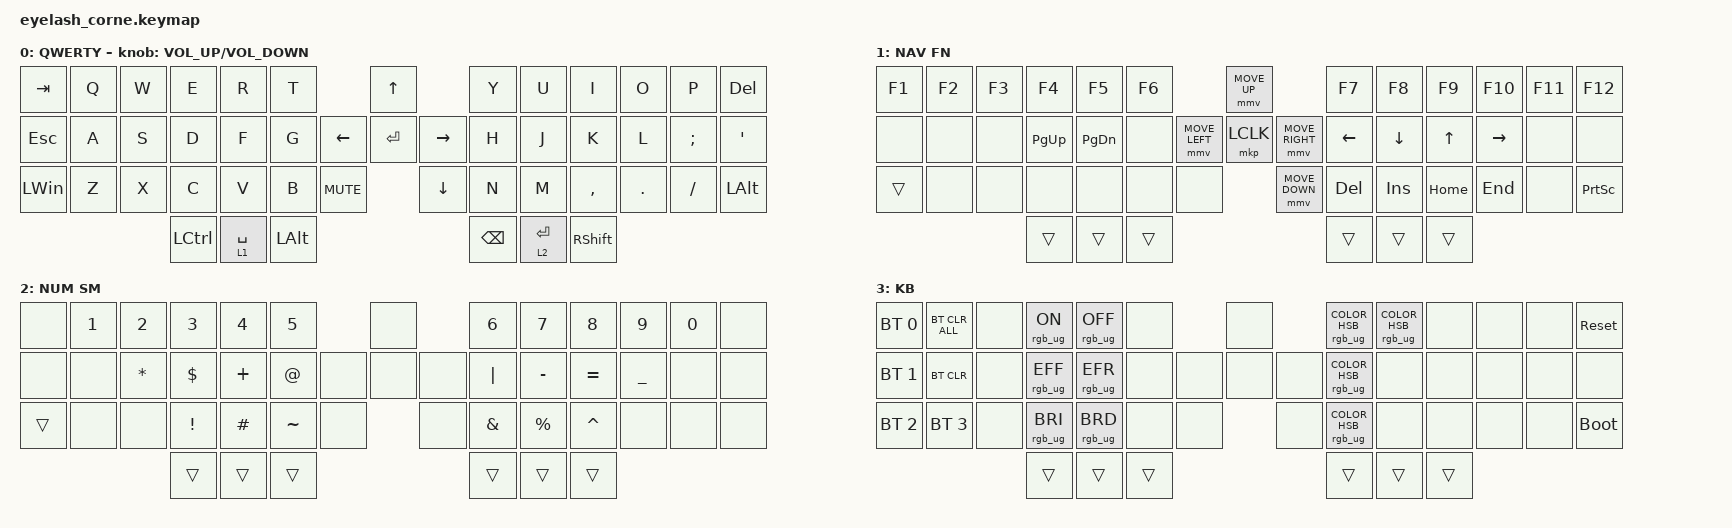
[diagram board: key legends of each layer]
#define ZMK_POINTING_DEFAULT_MOVE_VAL 1200  // 600
#define ZMK_POINTING_DEFAULT_SCRL_VAL 25   // 10

#include <input/processors.dtsi>
#include <zephyr/dt-bindings/input/input-event-codes.h>
#include <behaviors.dtsi>
#include <dt-bindings/zmk/bt.h>
#include <dt-bindings/zmk/keys.h>
#include <dt-bindings/zmk/pointing.h>
#include <dt-bindings/zmk/rgb.h>

&mmv_input_listener { input-processors = <&zip_xy_scaler 2 1>; };

&msc_input_listener { input-processors = <&zip_scroll_scaler 2 1>; };

&msc {
    acceleration-exponent = <1>;      // 0
    time-to-max-speed-ms = <100>;       // 300
    delay-ms = <0>;                   // 0
};

&mmv {
    time-to-max-speed-ms = <500>;
    acceleration-exponent = <1>;
    trigger-period-ms = <16>;
};

/ {
    combos {
        compatible = "zmk,combos";

        parentheses_left {
            bindings = <&kp LEFT_PARENTHESIS>;
            key-positions = <16 17>;
            layers = <0>;
        };

        parentheses_right {
            bindings = <&kp RIGHT_PARENTHESIS>;
            key-positions = <23 24>;
            layers = <0>;
        };

        bracket_left {
            bindings = <&kp LEFT_BRACKET>;
            key-positions = <3 4>;
            layers = <0>;
        };

        bracket_right {
            bindings = <&kp RIGHT_BRACKET>;
            key-positions = <8 9>;
            layers = <0>;
        };

        brace_left {
            bindings = <&kp LEFT_BRACE>;
            key-positions = <32 31>;
            layers = <0>;
        };

        brace_right {
            bindings = <&kp RIGHT_BRACE>;
            key-positions = <37 38>;
            layers = <0>;
        };

        less_than {
            bindings = <&kp LESS_THAN>;
            key-positions = <2 3>;
            layers = <0>;
        };

        bigger_than {
            bindings = <&kp GREATER_THAN>;
            key-positions = <9 10>;
            layers = <0>;
        };
    };

    behaviors {
        td0: td0 {
            compatible = "zmk,behavior-tap-dance";
            display-name = "Shift/Caps Lock Tap Dance";
            #binding-cells = <0>;
            bindings = <&kp LEFT_SHIFT>, <&kp CAPS>;
        };
    };

    rgb_encoder: rgb_encoder {
        compatible = "zmk,behavior-sensor-rotate";
        #sensor-binding-cells = <0>;
        bindings = <&rgb_ug RGB_BRI>, <&rgb_ug RGB_BRD>;
    };

    scroll_encoder: scroll_encoder {
        compatible = "zmk,behavior-sensor-rotate";
        #sensor-binding-cells = <0>;
        bindings = <&msc SCRL_DOWN>, <&msc SCRL_UP>;

        tap-ms = <100>;
    };

    keymap {
        compatible = "zmk,keymap";

        default_layer {
            display-name = "QWERTY";
            bindings = <
&kp TAB       &kp Q  &kp W  &kp E      &kp R        &kp T                                 &kp UP                &kp Y          &kp U        &kp I            &kp O    &kp P     &kp DELETE
&kp ESCAPE    &kp A  &kp S  &kp D      &kp F        &kp G                       &kp LEFT  &kp ENTER  &kp RIGHT  &kp H          &kp J        &kp K            &kp L    &kp SEMI  &kp SQT
&kp LEFT_WIN  &kp Z  &kp X  &kp C      &kp V        &kp B         &kp C_MUTE              &kp DOWN              &kp N          &kp M        &kp COMMA        &kp DOT  &kp FSLH  &kp LEFT_ALT
                            &kp LCTRL  &lt 1 SPACE  &kp LEFT_ALT                                                &kp BACKSPACE  &lt 2 ENTER  &kp RIGHT_SHIFT
            >;

            sensor-bindings = <&inc_dec_kp C_VOLUME_UP C_VOLUME_DOWN>;
        };

        raise_layer {
            bindings = <
&kp F1  &kp F2  &kp F3  &kp F4       &kp F5         &kp F6                           &mmv MOVE_UP                     &kp F7    &kp F8          &kp F9        &kp F10    &kp F11  &kp F12
&none   &none   &none   &kp PAGE_UP  &kp PAGE_DOWN  &none            &mmv MOVE_LEFT  &mkp LCLK       &mmv MOVE_RIGHT  &kp LEFT  &kp DOWN_ARROW  &kp UP_ARROW  &kp RIGHT  &none    &none
&trans  &none   &none   &none        &none          &none   &none                    &mmv MOVE_DOWN                   &kp DEL   &kp INS         &kp HOME      &kp END    &none    &kp PRINTSCREEN
                        &trans       &trans         &trans                                                            &trans    &trans          &trans
            >;

            label = "NAV FN";
        };

        lower_layer {
            bindings = <
&none   &kp N1  &kp N2     &kp N3      &kp N4     &kp N5                     &none         &kp N6    &kp N7       &kp N8     &kp N9     &kp N0  &none
&none   &none   &kp ASTRK  &kp DOLLAR  &kp PLUS   &kp AT              &none  &none  &none  &kp PIPE  &kp MINUS    &kp EQUAL  &kp UNDER  &none   &none
&trans  &none   &none      &kp EXCL    &kp POUND  &kp TILDE  &none           &none         &kp AMPS  &kp PERCENT  &kp CARET  &none      &none   &none
                           &trans      &trans     &trans                                   &trans    &trans       &trans
            >;

            label = "NUM SM";
        };

        kb_layer {
            bindings = <
&bt BT_SEL 0  &bt BT_CLR_ALL  &none  &rgb_ug RGB_ON   &rgb_ug RGB_OFF  &none                   &none         &rgb_ug RGB_COLOR_HSB(0,0,100)    &rgb_ug RGB_COLOR_HSB(154,48,50)  &none   &none  &none  &sys_reset
&bt BT_SEL 1  &bt BT_CLR      &none  &rgb_ug RGB_EFF  &rgb_ug RGB_EFR  &none            &none  &none  &none  &rgb_ug RGB_COLOR_HSB(184,36,56)  &none                             &none   &none  &none  &none
&bt BT_SEL 2  &bt BT_SEL 3    &none  &rgb_ug RGB_BRI  &rgb_ug RGB_BRD  &none   &none           &none         &rgb_ug RGB_COLOR_HSB(354,63,53)  &none                             &none   &none  &none  &bootloader
                                     &trans           &trans           &trans                                &trans                            &trans                            &trans
            >;

            label = "KB";
        };
    };

    conditional_layers {
        compatible = "zmk,conditional-layers";

        Fn_Mo {
            if-layers = <1 2>;
            then-layer = <3>;
        };
    };
};
